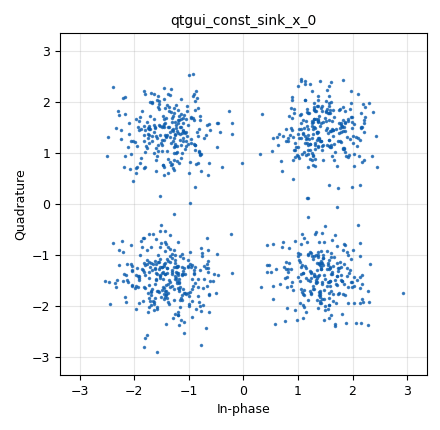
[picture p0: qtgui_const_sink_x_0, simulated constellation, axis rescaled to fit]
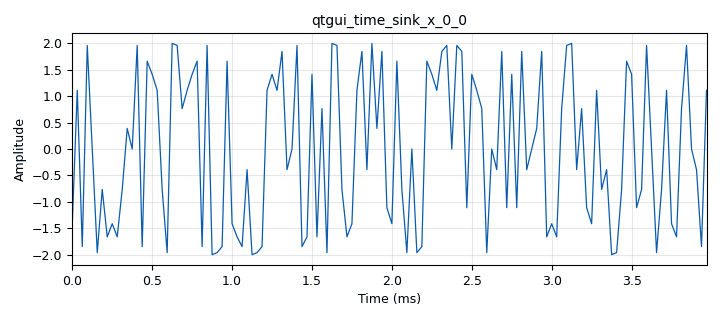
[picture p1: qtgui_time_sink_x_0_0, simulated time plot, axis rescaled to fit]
options:
  parameters:
    author: mike
    generate_options: qt_gui
    id: QPSK_lab4
    output_language: python
    title: Not titled yet
  states: {}

blocks:
- name: const_1
  id: variable_constellation
  parameters:
    precision: '4'
    type: qpsk
  states: {}
- name: noise_volt
  id: variable_qtgui_range
  parameters:
    comment: 0,0,1,1
    gui_hint: 0,0,1,1
    label: 'Channel: Noise Voltage'
    start: '0'
    step: '0.01'
    stop: '1'
    value: '0.6302'
  states: {}
- name: samp_rate
  id: variable
  parameters:
    value: '32000'
  states: {}
- name: analog_noise_source_x_0
  id: analog_noise_source_x
  parameters:
    amp: noise_volt
    noise_type: analog.GR_GAUSSIAN
    seed: '0'
    type: complex
  states: {}
- name: analog_random_source_x_0_0
  id: analog_random_source_x
  parameters:
    max: '4'
    min: '0'
    num_samps: '32000'
    repeat: 'True'
    type: byte
  states: {}
- name: analog_sig_source_x_0
  id: analog_sig_source_x
  parameters:
    amp: '1'
    freq: '1000'
    offset: '0'
    phase: '0'
    samp_rate: samp_rate
    type: float
    waveform: analog.GR_SIN_WAVE
  states: {}
- name: analog_sig_source_x_0_0
  id: analog_sig_source_x
  parameters:
    amp: '1'
    freq: '1000'
    offset: '0'
    phase: '0'
    samp_rate: samp_rate
    type: float
    waveform: analog.GR_COS_WAVE
  states: {}
- name: blocks_add_xx_0
  id: blocks_add_xx
  parameters:
    type: complex
  states: {}
- name: blocks_add_xx_1
  id: blocks_add_xx
  parameters:
    type: float
  states: {}
- name: blocks_complex_to_float_0
  id: blocks_complex_to_float
  parameters: {}
  states: {}
- name: blocks_multiply_xx_0
  id: blocks_multiply_xx
  parameters:
    type: float
  states: {}
- name: blocks_multiply_xx_0_0
  id: blocks_multiply_xx
  parameters:
    type: float
  states: {}
- name: blocks_pack_k_bits_bb_0
  id: blocks_pack_k_bits_bb
  parameters:
    k: '8'
  states: {}
- name: blocks_pack_k_bits_bb_0_0
  id: blocks_pack_k_bits_bb
  parameters:
    k: '8'
  states: {}
- name: blocks_repeat_0
  id: blocks_repeat
  parameters:
    interp: '16'
    type: byte
  states: {state: disabled}
- name: blocks_throttle2_0
  id: blocks_throttle2
  parameters:
    samples_per_second: samp_rate
    type: complex
  states: {}
- name: digital_chunks_to_symbols_xx_0
  id: digital_chunks_to_symbols_xx
  parameters:
    dimension: '1'
    in_type: byte
    out_type: complex
    symbol_table: const_1.points()
  states: {}
- name: digital_constellation_decoder_cb_0
  id: digital_constellation_decoder_cb
  parameters:
    constellation: const_1
  states: {}
- name: fec_ber_bf_0
  id: fec_ber_bf
  parameters:
    alias: BER
    berminerrors: '10'
    test_mode: 'False'
  states: {}
- name: qtgui_const_sink_x_0
  id: qtgui_const_sink_x
  parameters:
    size: '1024'
    type: complex
  states: {}
- name: qtgui_number_sink_0
  id: qtgui_number_sink
  parameters:
    graph_type: qtgui.NUM_GRAPH_HORIZ
    type: byte
  states: {}
- name: qtgui_number_sink_0_0
  id: qtgui_number_sink
  parameters:
    autoscale: 'True'
    graph_type: qtgui.NUM_GRAPH_VERT
    name: '"BER"'
    type: float
  states: {}
- name: qtgui_time_sink_x_0_0
  id: qtgui_time_sink_x
  parameters:
    size: '128'
    srate: samp_rate
    type: float
  states: {}

connections:
- [analog_noise_source_x_0, '0', blocks_add_xx_0, '1']
- [analog_random_source_x_0_0, '0', blocks_pack_k_bits_bb_0_0, '0']
- [analog_random_source_x_0_0, '0', blocks_repeat_0, '0']
- [analog_random_source_x_0_0, '0', digital_chunks_to_symbols_xx_0, '0']
- [analog_sig_source_x_0, '0', blocks_multiply_xx_0, '1']
- [analog_sig_source_x_0_0, '0', blocks_multiply_xx_0_0, '0']
- [blocks_add_xx_0, '0', blocks_throttle2_0, '0']
- [blocks_add_xx_1, '0', qtgui_time_sink_x_0_0, '0']
- [blocks_complex_to_float_0, '0', blocks_multiply_xx_0_0, '1']
- [blocks_complex_to_float_0, '1', blocks_multiply_xx_0, '0']
- [blocks_multiply_xx_0, '0', blocks_add_xx_1, '1']
- [blocks_multiply_xx_0_0, '0', blocks_add_xx_1, '0']
- [blocks_pack_k_bits_bb_0, '0', fec_ber_bf_0, '1']
- [blocks_pack_k_bits_bb_0, '0', qtgui_number_sink_0, '0']
- [blocks_pack_k_bits_bb_0_0, '0', fec_ber_bf_0, '0']
- [blocks_repeat_0, '0', digital_chunks_to_symbols_xx_0, '0']
- [blocks_throttle2_0, '0', digital_constellation_decoder_cb_0, '0']
- [blocks_throttle2_0, '0', qtgui_const_sink_x_0, '0']
- [digital_chunks_to_symbols_xx_0, '0', blocks_add_xx_0, '0']
- [digital_chunks_to_symbols_xx_0, '0', blocks_complex_to_float_0, '0']
- [digital_constellation_decoder_cb_0, '0', blocks_pack_k_bits_bb_0, '0']
- [fec_ber_bf_0, '0', qtgui_number_sink_0_0, '0']

metadata:
  file_format: 1
  grc_version: 3.10.12.0
